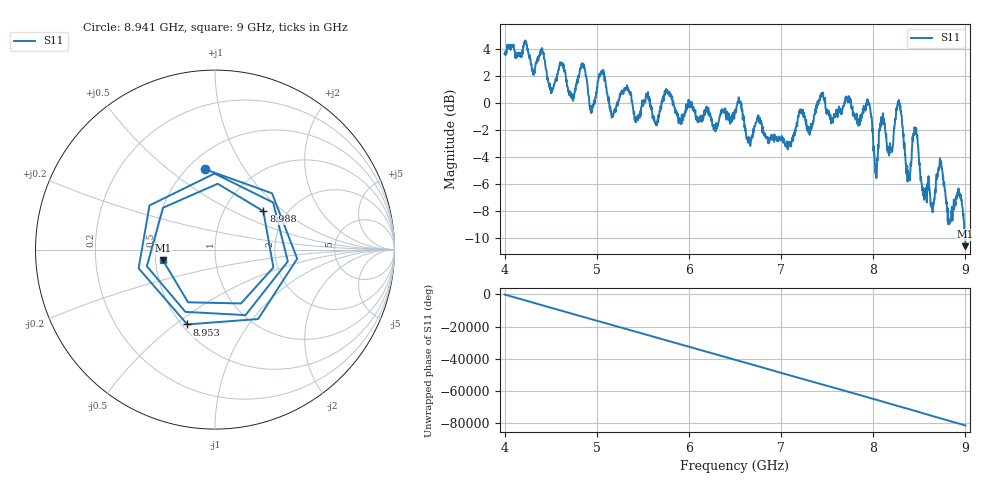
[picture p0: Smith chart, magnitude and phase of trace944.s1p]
! Created with skrf 1.8.0 (http://scikit-rf.org).
# Hz S RI R 50.0
!freq ReS11 ImS11
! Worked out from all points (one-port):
!   1601 points, 4 GHz to 9 GHz, reference 50 ohm
!   lowest |S11| = -10.6 dB at 9 GHz (marker M1), VSWR 1.84, Z = 27.3 - j3.55 ohm
!   |S11| at or under -10 dB: 8.998172 GHz to end of sweep
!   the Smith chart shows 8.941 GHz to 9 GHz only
!   S11 on the Smith chart (normalised r, x): 8.941 GHz: 0.61, +0.68; 8.953 GHz: 0.53, -0.55; 8.988 GHz: 1.52, +0.74; 9 GHz: 0.55, -0.07
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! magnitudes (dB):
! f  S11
! 4 GHz  3.7
! 4.403 GHz  4.1
! 4.506 GHz  1.1
! 4.625 GHz  3.0
! 4.731 GHz  0.6
! 4.853 GHz  2.7
! 4.944 GHz  -0.7
! 5.056 GHz  2.3
! 5.162 GHz  -1.0
! 5.25 GHz  0.7
! 5.875 GHz  -0.8
! 6.5 GHz  -0.5
! 7.125 GHz  -2.5
! 7.75 GHz  0.4
! 7.95 GHz  0.0
! 8.028 GHz  -5.2
! 8.088 GHz  -1.0
! 8.188 GHz  -3.2
! 8.281 GHz  -0.1
! 8.375 GHz  -5.0
! 8.453 GHz  -1.9
! 8.556 GHz  -6.8
! 8.728 GHz  -4.3
! 8.825 GHz  -8.9
! 8.941 GHz  -6.9
! 8.953 GHz  -7.0
! 8.988 GHz  -9.3
! 9 GHz  -10.6
